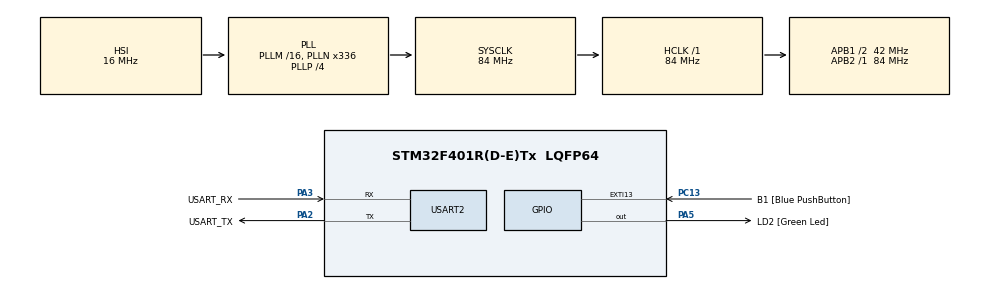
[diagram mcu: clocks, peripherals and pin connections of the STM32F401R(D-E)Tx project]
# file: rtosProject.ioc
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FREERTOS.BinarySemaphores01=ReceiverSem,Dynamic,NULL,Depleted
FREERTOS.Events01=LedEvent,Dynamic,NULL;SenderEvent,Dynamic,NULL
FREERTOS.Queues01=myQueue01,16,char*,0,Dynamic,NULL,NULL
FREERTOS.Tasks01=defaultTask,24,128,StartDefaultTask,Default,NULL,Dynamic,NULL,NULL;Led_Handler,8,128,LED,Default,NULL,Dynamic,NULL,NULL;Message_Sender,8,128,Sender,Default,NULL,Dynamic,NULL,NULL;Message_receive,8,128,Receiver,Default,NULL,Dynamic,NULL,NULL
FREERTOS.Timers01=myTimer01,Callback01,osTimerOnce,Default,NULL,Dynamic,NULL
Mcu.Family=STM32F4
Mcu.Name=STM32F401R(D-E)Tx
Mcu.Package=LQFP64
NVIC.PriorityGroup=NVIC_PRIORITYGROUP_4
NVIC.TIM1_UP_TIM10_IRQn=true\:15\:0\:false\:false\:true\:false\:false\:true\:true
NVIC.TimeBase=TIM1_UP_TIM10_IRQn
NVIC.TimeBaseIP=TIM1
NVIC.USART2_IRQn=true\:5\:0\:false\:false\:true\:true\:true\:true\:true
PA13.GPIO_Label=TMS
PA13.Mode=Trace_Asynchronous_SW
PA13.Signal=SYS_JTMS-SWDIO
PA14.GPIO_Label=TCK
PA14.Mode=Trace_Asynchronous_SW
PA14.Signal=SYS_JTCK-SWCLK
PA2.GPIO_Label=USART_TX
PA2.GPIO_Mode=GPIO_MODE_AF_PP
PA2.GPIO_PuPd=GPIO_NOPULL
PA2.GPIO_Speed=GPIO_SPEED_FREQ_LOW
PA2.Mode=Asynchronous
PA2.Signal=USART2_TX
PA3.GPIO_Label=USART_RX
PA3.GPIO_Mode=GPIO_MODE_AF_PP
PA3.GPIO_PuPd=GPIO_NOPULL
PA3.GPIO_Speed=GPIO_SPEED_FREQ_LOW
PA3.Mode=Asynchronous
PA3.Signal=USART2_RX
PA5.GPIO_Label=LD2 [Green Led]
PA5.GPIO_Mode=GPIO_MODE_OUTPUT_PP
PA5.GPIO_PuPd=GPIO_NOPULL
PA5.GPIO_Speed=GPIO_SPEED_FREQ_LOW
PA5.Signal=GPIO_Output
PB3.GPIO_Label=SWO
PB3.Mode=Trace_Asynchronous_SW
PB3.Signal=SYS_JTDO-SWO
PC13-ANTI_TAMP.GPIO_Label=B1 [Blue PushButton]
PC13-ANTI_TAMP.GPIO_ModeDefaultEXTI=GPIO_MODE_IT_FALLING
PC13-ANTI_TAMP.GPIO_PuPd=GPIO_NOPULL
PC13-ANTI_TAMP.Signal=GPXTI13
PC14-OSC32_IN.Mode=LSE-External-Oscillator
PC14-OSC32_IN.Signal=RCC_OSC32_IN
PC15-OSC32_OUT.Mode=LSE-External-Oscillator
PC15-OSC32_OUT.Signal=RCC_OSC32_OUT
PH0\ -\ OSC_IN.Mode=HSE-External-Clock-Source
PH0\ -\ OSC_IN.Signal=RCC_OSC_IN
PH1\ -\ OSC_OUT.Mode=HSE-External-Clock-Source
PH1\ -\ OSC_OUT.Signal=RCC_OSC_OUT
ProjectManager.HeapSize=0x200
ProjectManager.StackSize=0x400
ProjectManager.TargetToolchain=STM32CubeIDE
RCC.48MHZClocksFreq_Value=48000000
RCC.AHBFreq_Value=84000000
RCC.APB1CLKDivider=RCC_HCLK_DIV2
RCC.APB1Freq_Value=42000000
RCC.APB1TimFreq_Value=84000000
RCC.APB2Freq_Value=84000000
RCC.APB2TimFreq_Value=84000000
RCC.CortexFreq_Value=84000000
RCC.HCLKFreq_Value=84000000
RCC.HSE_VALUE=8000000
RCC.HSI_VALUE=16000000
RCC.PLLN=336
RCC.PLLP=RCC_PLLP_DIV4
RCC.PLLQ=7
RCC.SYSCLKFreq_VALUE=84000000
RCC.SYSCLKSource=RCC_SYSCLKSOURCE_PLLCLK
RCC.VCOOutputFreq_Value=336000000
USART2.VirtualMode=VM_ASYNC
VP_FREERTOS_VS_CMSIS_V2.Mode=CMSIS_V2
VP_RTC_VS_RTC_Activate.Mode=RTC_Enabled
VP_SYS_VS_tim1.Mode=TIM1
board=NUCLEO-F401RE

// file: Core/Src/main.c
/* USER CODE BEGIN Header */
/**
  ******************************************************************************
  * @file           : main.c
  * @brief          : Main program body
  ******************************************************************************
  * @attention
  *
  * Copyright (c) 2025 STMicroelectronics.
  * All rights reserved.
  *
  * This software is licensed under terms that can be found in the LICENSE file
  * in the root directory of this software component.
  * If no LICENSE file comes with this software, it is provided AS-IS.
  *
  ******************************************************************************
  */
/* USER CODE END Header */
#include "main.h"
#include "cmsis_os.h"

/* USER CODE BEGIN PD */
#define RX_BUFFER_SIZE 32
#define FLAG_1 (1U << 0)
#define FLAG_2 (1U << 1)
#define FLAG_3 (1U << 2)
/* USER CODE END PD */

RTC_HandleTypeDef hrtc;

UART_HandleTypeDef huart2;

/* Definitions for defaultTask */
osThreadId_t defaultTaskHandle;
const osThreadAttr_t defaultTask_attributes = {
  .name = "defaultTask",
  .stack_size = 128 * 4,
  .priority = (osPriority_t) osPriorityNormal,
};
/* Definitions for Led_Handler */
osThreadId_t Led_HandlerHandle;
const osThreadAttr_t Led_Handler_attributes = {
  .name = "Led_Handler",
  .stack_size = 128 * 4,
  .priority = (osPriority_t) osPriorityLow,
};
/* Definitions for Message_Sender */
osThreadId_t Message_SenderHandle;
const osThreadAttr_t Message_Sender_attributes = {
  .name = "Message_Sender",
  .stack_size = 128 * 4,
  .priority = (osPriority_t) osPriorityLow,
};
/* Definitions for Message_receive */
osThreadId_t Message_receiveHandle;
const osThreadAttr_t Message_receive_attributes = {
  .name = "Message_receive",
  .stack_size = 128 * 4,
  .priority = (osPriority_t) osPriorityLow,
};
/* Definitions for myQueue01 */
osMessageQueueId_t myQueue01Handle;
const osMessageQueueAttr_t myQueue01_attributes = {
  .name = "myQueue01"
};
/* Definitions for myTimer01 */
osTimerId_t myTimer01Handle;
const osTimerAttr_t myTimer01_attributes = {
  .name = "myTimer01"
};
/* Definitions for ReceiverSem */
osSemaphoreId_t ReceiverSemHandle;
const osSemaphoreAttr_t ReceiverSem_attributes = {
  .name = "ReceiverSem"
};
/* Definitions for LedEvent */
osEventFlagsId_t LedEventHandle;
const osEventFlagsAttr_t LedEvent_attributes = {
  .name = "LedEvent"
};
/* Definitions for SenderEvent */
osEventFlagsId_t SenderEventHandle;
const osEventFlagsAttr_t SenderEvent_attributes = {
  .name = "SenderEvent"
};
/* USER CODE BEGIN PV */
char* Commands[]={
"LED ON\n","LED OFF\n","TOGGLE LED \n ","ECHO \n","HELP"
};
char* messages[]={
"HELLO\n","YOU CAN TAP HELP TO SEE THE COMMANDS \n"
};
/* USER CODE END PV */

void SystemClock_Config(void);
static void MX_GPIO_Init(void);
static void MX_USART2_UART_Init(void);
static void MX_RTC_Init(void);
void StartDefaultTask(void *argument);
void LED(void *argument);
void Sender(void *argument);
void Receiver(void *argument);
void Callback01(void *argument);

/* USER CODE BEGIN 0 */
char RxBuffer[RX_BUFFER_SIZE];
char RxChar;

void HAL_UART_RxCpltCallback(UART_HandleTypeDef *huart)
{
if(huart->Instance==USART2){
RxBuffer[0]=RxChar;

osSemaphoreRelease(ReceiverSemHandle);
}
}
/* USER CODE END 0 */

int main(void)
{

  /* MCU Configuration--------------------------------------------------------*/

  /* Reset of all peripherals, Initializes the Flash interface and the Systick. */
  HAL_Init();

  /* Configure the system clock */
  SystemClock_Config();

  /* Initialize all configured peripherals */
  MX_GPIO_Init();
  MX_USART2_UART_Init();
  MX_RTC_Init();

  /* Init scheduler */
  osKernelInitialize();

  /* Create the semaphores(s) */
  /* creation of ReceiverSem */
  ReceiverSemHandle = osSemaphoreNew(1, 0, &ReceiverSem_attributes);

  /* Create the timer(s) */
  /* creation of myTimer01 */
  myTimer01Handle = osTimerNew(Callback01, osTimerOnce, NULL, &myTimer01_attributes);

  /* Create the queue(s) */
  /* creation of myQueue01 */
  myQueue01Handle = osMessageQueueNew (16, sizeof(char*), &myQueue01_attributes);

  /* Create the thread(s) */
  /* creation of defaultTask */
  defaultTaskHandle = osThreadNew(StartDefaultTask, NULL, &defaultTask_attributes);

  /* creation of Led_Handler */
  Led_HandlerHandle = osThreadNew(LED, NULL, &Led_Handler_attributes);

  /* creation of Message_Sender */
  Message_SenderHandle = osThreadNew(Sender, NULL, &Message_Sender_attributes);

  /* creation of Message_receive */
  Message_receiveHandle = osThreadNew(Receiver, NULL, &Message_receive_attributes);

  /* Create the event(s) */
  /* creation of LedEvent */
  LedEventHandle = osEventFlagsNew(&LedEvent_attributes);

  /* creation of SenderEvent */
  SenderEventHandle = osEventFlagsNew(&SenderEvent_attributes);

  /* Start scheduler */
  osKernelStart();

  /* We should never get here as control is now taken by the scheduler */

  /* Infinite loop */
  while (1)
  {

  }
}

void SystemClock_Config(void)
{
  RCC_OscInitTypeDef RCC_OscInitStruct = {0};
  RCC_ClkInitTypeDef RCC_ClkInitStruct = {0};

  /** Configure the main internal regulator output voltage
  */
  __HAL_RCC_PWR_CLK_ENABLE();
  __HAL_PWR_VOLTAGESCALING_CONFIG(PWR_REGULATOR_VOLTAGE_SCALE2);

  /** Initializes the RCC Oscillators according to the specified parameters
  * in the RCC_OscInitTypeDef structure.
  */
  RCC_OscInitStruct.OscillatorType = RCC_OSCILLATORTYPE_HSI|RCC_OSCILLATORTYPE_LSI;
  RCC_OscInitStruct.HSIState = RCC_HSI_ON;
  RCC_OscInitStruct.HSICalibrationValue = RCC_HSICALIBRATION_DEFAULT;
  RCC_OscInitStruct.LSIState = RCC_LSI_ON;
  RCC_OscInitStruct.PLL.PLLState = RCC_PLL_ON;
  RCC_OscInitStruct.PLL.PLLSource = RCC_PLLSOURCE_HSI;
  RCC_OscInitStruct.PLL.PLLM = 16;
  RCC_OscInitStruct.PLL.PLLN = 336;
  RCC_OscInitStruct.PLL.PLLP = RCC_PLLP_DIV4;
  RCC_OscInitStruct.PLL.PLLQ = 7;
  if (HAL_RCC_OscConfig(&RCC_OscInitStruct) != HAL_OK)
  {
    Error_Handler();
  }

  /** Initializes the CPU, AHB and APB buses clocks
  */
  RCC_ClkInitStruct.ClockType = RCC_CLOCKTYPE_HCLK|RCC_CLOCKTYPE_SYSCLK
                              |RCC_CLOCKTYPE_PCLK1|RCC_CLOCKTYPE_PCLK2;
  RCC_ClkInitStruct.SYSCLKSource = RCC_SYSCLKSOURCE_PLLCLK;
  RCC_ClkInitStruct.AHBCLKDivider = RCC_SYSCLK_DIV1;
  RCC_ClkInitStruct.APB1CLKDivider = RCC_HCLK_DIV2;
  RCC_ClkInitStruct.APB2CLKDivider = RCC_HCLK_DIV1;

  if (HAL_RCC_ClockConfig(&RCC_ClkInitStruct, FLASH_LATENCY_2) != HAL_OK)
  {
    Error_Handler();
  }
}

static void MX_RTC_Init(void)
{

  /** Initialize RTC Only
  */
  hrtc.Instance = RTC;
  hrtc.Init.HourFormat = RTC_HOURFORMAT_24;
  hrtc.Init.AsynchPrediv = 127;
  hrtc.Init.SynchPrediv = 255;
  hrtc.Init.OutPut = RTC_OUTPUT_DISABLE;
  hrtc.Init.OutPutPolarity = RTC_OUTPUT_POLARITY_HIGH;
  hrtc.Init.OutPutType = RTC_OUTPUT_TYPE_OPENDRAIN;
  if (HAL_RTC_Init(&hrtc) != HAL_OK)
  {
    Error_Handler();
  }

}

static void MX_USART2_UART_Init(void)
{

  huart2.Instance = USART2;
  huart2.Init.BaudRate = 115200;
  huart2.Init.WordLength = UART_WORDLENGTH_8B;
  huart2.Init.StopBits = UART_STOPBITS_1;
  huart2.Init.Parity = UART_PARITY_NONE;
  huart2.Init.Mode = UART_MODE_TX_RX;
  huart2.Init.HwFlowCtl = UART_HWCONTROL_NONE;
  huart2.Init.OverSampling = UART_OVERSAMPLING_16;
  if (HAL_UART_Init(&huart2) != HAL_OK)
  {
    Error_Handler();
  }

}

static void MX_GPIO_Init(void)
{
  GPIO_InitTypeDef GPIO_InitStruct = {0};

  /* GPIO Ports Clock Enable */
  __HAL_RCC_GPIOC_CLK_ENABLE();
  __HAL_RCC_GPIOH_CLK_ENABLE();
  __HAL_RCC_GPIOA_CLK_ENABLE();
  __HAL_RCC_GPIOB_CLK_ENABLE();

  /*Configure GPIO pin Output Level */
  HAL_GPIO_WritePin(LD2_GPIO_Port, LD2_Pin, GPIO_PIN_RESET);

  /*Configure GPIO pin : B1_Pin */
  GPIO_InitStruct.Pin = B1_Pin;
  GPIO_InitStruct.Mode = GPIO_MODE_IT_FALLING;
  GPIO_InitStruct.Pull = GPIO_NOPULL;
  HAL_GPIO_Init(B1_GPIO_Port, &GPIO_InitStruct);

  /*Configure GPIO pin : LD2_Pin */
  GPIO_InitStruct.Pin = LD2_Pin;
  GPIO_InitStruct.Mode = GPIO_MODE_OUTPUT_PP;
  GPIO_InitStruct.Pull = GPIO_NOPULL;
  GPIO_InitStruct.Speed = GPIO_SPEED_FREQ_LOW;
  HAL_GPIO_Init(LD2_GPIO_Port, &GPIO_InitStruct);

}

void StartDefaultTask(void *argument)
{
  /* USER CODE BEGIN 5 */
  /* Infinite loop */
  for(;;)
  {
    osDelay(1000);
  }
  /* USER CODE END 5 */
}

void LED(void *argument)
{
  /* USER CODE BEGIN LED */
  HAL_GPIO_WritePin(GPIOA, GPIO_PIN_5, 0);
  /* Infinite loop */
  for(;;)
  {uint32_t flags=osEventFlagsWait(LedEventHandle, FLAG_1|FLAG_2|FLAG_3, osFlagsWaitAny, osWaitForever);
     osTimerStop(myTimer01Handle);//if the previous command was a toggle we need to stop the timer
  if(flags&FLAG_1) //led on
     HAL_GPIO_WritePin(GPIOA, GPIO_PIN_5, 1);
  else if(flags&FLAG_2) //led off
	  HAL_GPIO_WritePin(GPIOA, GPIO_PIN_5, 0);
  else if(flags&FLAG_3)//start timer and toggle led
	  osTimerStart(myTimer01Handle,1000);
  osEventFlagsClear(LedEventHandle, flags);

  }
  /* USER CODE END LED */
}

void Sender(void *argument)
{
  /* USER CODE BEGIN Sender */
  /* Infinite loop */
  HAL_UART_Transmit(&huart2, messages[0], strlen(messages[0]), 10);
  HAL_UART_Transmit(&huart2, messages[1], strlen(messages[1]), 10);
  for(;;)
  {uint32_t flags=osEventFlagsWait(SenderEventHandle, FLAG_1|FLAG_2,osFlagsWaitAny, osWaitForever);
  if(flags&FLAG_1){
	  char* c;
	  osMessageQueueGet(myQueue01Handle, &c, 0, osWaitForever);
	  HAL_UART_Transmit(&huart2, c, strlen(c), 10);

  }
  else if(flags&FLAG_2) //send possible commands
  { HAL_UART_Transmit(&huart2, Commands[0], strlen(Commands[0]), 10);
  HAL_UART_Transmit(&huart2, Commands[1], strlen(Commands[1]), 10);
  HAL_UART_Transmit(&huart2, Commands[2], strlen(Commands[2]), 10);
  HAL_UART_Transmit(&huart2, Commands[3], strlen(Commands[3]), 10);
  }
  osEventFlagsClear(LedEventHandle, flags);
  }

  /* USER CODE END Sender */
}

void Receiver(void *argument)
{
  /* USER CODE BEGIN Receiver */
   HAL_UART_Receive_IT(&huart2, &RxChar, 1);

  /* Infinite loop */
  for(;;)
  {uint8_t i=0;
  osSemaphoreAcquire(ReceiverSemHandle, osWaitForever);
  HAL_StatusTypeDef status;
  do {
      status = HAL_UART_Receive(&huart2, (uint8_t *)&RxChar, 1, 10);
      if (status == HAL_OK && i < RX_BUFFER_SIZE - 1) {
    	  i++;
          RxBuffer[i] = RxChar;
      }
  } while (status == HAL_OK && i < RX_BUFFER_SIZE - 1);
  RxBuffer[i+1] = '\0';
  if(strncmp(RxBuffer,Commands[0],6)==0)//led on
	  osEventFlagsSet(LedEventHandle, FLAG_1);
  else if(strncmp(RxBuffer,Commands[1],7)==0)//led off
	  osEventFlagsSet(LedEventHandle, FLAG_2);
  else if(strncmp(RxBuffer,Commands[2],10)==0)//toggle led
	  osEventFlagsSet(LedEventHandle, FLAG_3);
  else if((strncmp(RxBuffer,Commands[3],4)==0))//echo
  { osEventFlagsSet(SenderEventHandle, FLAG_1);
  	  char* c=(char*)malloc((i-4)*sizeof(char));
  	  strncpy(c,RxBuffer+5,i-4);
  	  c[i-4]='\0';
       osMessageQueuePut(myQueue01Handle, &c, 0, 0);}//if we received echo the custom message start from the index 5

  else if(strcmp(RxBuffer,Commands[4])==0) //help
	  osEventFlagsSet(SenderEventHandle,FLAG_2);
  HAL_UART_Receive_IT(&huart2, &RxChar, 1);//restart the receiving
  /* USER CODE END Receiver */
}}

/* Callback01 function */
void Callback01(void *argument)
{
  /* USER CODE BEGIN Callback01 */
	HAL_GPIO_TogglePin(GPIOA, GPIO_PIN_5);
	osTimerStart(myTimer01Handle, 1000);
  /* USER CODE END Callback01 */
}

void HAL_TIM_PeriodElapsedCallback(TIM_HandleTypeDef *htim)
{
  if (htim->Instance == TIM1)
  {
    HAL_IncTick();
  }
}

void Error_Handler(void)
{
  __disable_irq();
  while (1)
  {
  }
}
